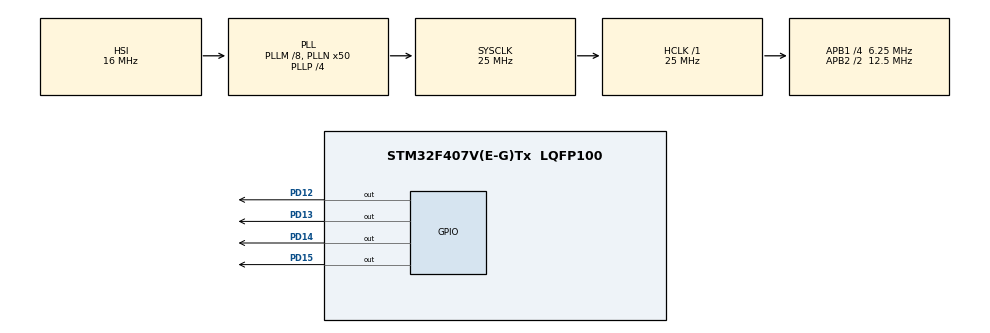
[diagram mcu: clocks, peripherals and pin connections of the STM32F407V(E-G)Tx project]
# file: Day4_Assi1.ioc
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FREERTOS.INCLUDE_vTaskDelayUntil=1
FREERTOS.Tasks01=defaultTask,-3,128,StartDefaultTask,Default,NULL,Dynamic,NULL,NULL
FREERTOS.configUSE_NEWLIB_REENTRANT=1
Mcu.Family=STM32F4
Mcu.Name=STM32F407V(E-G)Tx
Mcu.Package=LQFP100
NVIC.PriorityGroup=NVIC_PRIORITYGROUP_4
NVIC.TIM1_UP_TIM10_IRQn=true\:15\:0\:false\:false\:true\:false\:false\:true\:true
NVIC.TimeBase=TIM1_UP_TIM10_IRQn
NVIC.TimeBaseIP=TIM1
PD12.Signal=GPIO_Output
PD13.Signal=GPIO_Output
PD14.Signal=GPIO_Output
PD15.Signal=GPIO_Output
ProjectManager.HeapSize=0x200
ProjectManager.StackSize=0x400
ProjectManager.TargetToolchain=STM32CubeIDE
RCC.48MHZClocksFreq_Value=14285714.285714285
RCC.AHBFreq_Value=25000000
RCC.APB1CLKDivider=RCC_HCLK_DIV4
RCC.APB1Freq_Value=6250000
RCC.APB1TimFreq_Value=12500000
RCC.APB2CLKDivider=RCC_HCLK_DIV2
RCC.APB2Freq_Value=12500000
RCC.APB2TimFreq_Value=25000000
RCC.CortexFreq_Value=25000000
RCC.HCLKFreq_Value=25000000
RCC.HSE_VALUE=8000000
RCC.HSI_VALUE=16000000
RCC.PLLM=8
RCC.PLLN=50
RCC.PLLP=RCC_PLLP_DIV4
RCC.PLLQ=7
RCC.SYSCLKFreq_VALUE=25000000
RCC.SYSCLKSource=RCC_SYSCLKSOURCE_PLLCLK
RCC.VCOOutputFreq_Value=100000000
VP_FREERTOS_VS_CMSIS_V1.Mode=CMSIS_V1
VP_SYS_VS_tim1.Mode=TIM1
board=STM32F407G-DISC1

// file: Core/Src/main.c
/* USER CODE BEGIN Header */
/**
  ******************************************************************************
  * @file           : main.c
  * @brief          : Main program body
  ******************************************************************************
  * @attention
  *
  * Copyright (c) 2024 STMicroelectronics.
  * All rights reserved.
  *
  * This software is licensed under terms that can be found in the LICENSE file
  * in the root directory of this software component.
  * If no LICENSE file comes with this software, it is provided AS-IS.
  *
  ******************************************************************************
  */
/* USER CODE END Header */
#include "main.h"
#include "cmsis_os.h"

osThreadId defaultTaskHandle;

void SystemClock_Config(void);
static void MX_GPIO_Init(void);
void StartDefaultTask(void const * argument);

/* USER CODE BEGIN 0 */
void vLedTask1(void *pvParam)
{
	uint16_t pin = (uint16_t)pvParam;
	while(1)
	{
		HAL_GPIO_TogglePin(GPIOD, pin);
		vTaskDelay(500 / portTICK_RATE_MS);
	}
	vTaskDelete(NULL);
}

void vLedTask2(void *pvParam)
{
	uint16_t pin = (uint16_t)pvParam;
	portTickType xLastWakeupTime =  xTaskGetTickCount();
	while(1)
	{
		HAL_GPIO_TogglePin(GPIOD, pin);
		vTaskDelayUntil(&xLastWakeupTime ,1000 / portTICK_RATE_MS);
	}
	vTaskDelete(NULL);
}

void vLedTask3(void *pvParam)
{
	uint16_t pin = (uint16_t)pvParam;
	while(1)
	{
		HAL_GPIO_TogglePin(GPIOD, pin);
		vTaskDelay(1500 / portTICK_RATE_MS);
	}
	vTaskDelete(NULL);
}

void vLedTask4(void *pvParam)
{
	uint16_t pin = (uint16_t)pvParam;
	portTickType xLastWakeupTime =  xTaskGetTickCount();
	while(1)
	{
		HAL_GPIO_TogglePin(GPIOD, pin);
		vTaskDelayUntil(&xLastWakeupTime ,2000 / portTICK_RATE_MS);
	}
	vTaskDelete(NULL);
}
/* USER CODE END 0 */

int main(void)
{

  /* USER CODE BEGIN 1 */
	BaseType_t xRet;
  /* USER CODE END 1 */

  /* MCU Configuration--------------------------------------------------------*/

  /* Reset of all peripherals, Initializes the Flash interface and the Systick. */
  HAL_Init();

  /* Configure the system clock */
  SystemClock_Config();

  /* Initialize all configured peripherals */
  MX_GPIO_Init();

  /* Create the thread(s) */
  /* definition and creation of defaultTask */
  osThreadDef(defaultTask, StartDefaultTask, osPriorityIdle, 0, 128);
  defaultTaskHandle = osThreadCreate(osThread(defaultTask), NULL);

  /* USER CODE BEGIN RTOS_THREADS */
  /* add threads, ... */
  xRet = xTaskCreate(vLedTask1, "Task1", configMINIMAL_STACK_SIZE , (void *)GPIO_PIN_12, 1, NULL);
  if(xRet != pdTRUE)
	  Error_Handler();

  xRet = xTaskCreate(vLedTask2, "Task2", configMINIMAL_STACK_SIZE , (void *)GPIO_PIN_13, 6, NULL);
    if(xRet != pdTRUE)
  	  Error_Handler();

    xRet = xTaskCreate(vLedTask3, "Task3", configMINIMAL_STACK_SIZE , (void *)GPIO_PIN_14, 3, NULL);
     if(xRet != pdTRUE)
   	  Error_Handler();

     xRet = xTaskCreate(vLedTask4, "Task4", configMINIMAL_STACK_SIZE , (void *)GPIO_PIN_15, 2, NULL);
       if(xRet != pdTRUE)
     	  Error_Handler();
  /* USER CODE END RTOS_THREADS */

  /* Start scheduler */
  osKernelStart();

  /* We should never get here as control is now taken by the scheduler */

  /* Infinite loop */
  while (1)
  {

  }
}

void SystemClock_Config(void)
{
  RCC_OscInitTypeDef RCC_OscInitStruct = {0};
  RCC_ClkInitTypeDef RCC_ClkInitStruct = {0};

  /** Configure the main internal regulator output voltage
  */
  __HAL_RCC_PWR_CLK_ENABLE();
  __HAL_PWR_VOLTAGESCALING_CONFIG(PWR_REGULATOR_VOLTAGE_SCALE1);

  /** Initializes the RCC Oscillators according to the specified parameters
  * in the RCC_OscInitTypeDef structure.
  */
  RCC_OscInitStruct.OscillatorType = RCC_OSCILLATORTYPE_HSI;
  RCC_OscInitStruct.HSIState = RCC_HSI_ON;
  RCC_OscInitStruct.HSICalibrationValue = RCC_HSICALIBRATION_DEFAULT;
  RCC_OscInitStruct.PLL.PLLState = RCC_PLL_ON;
  RCC_OscInitStruct.PLL.PLLSource = RCC_PLLSOURCE_HSI;
  RCC_OscInitStruct.PLL.PLLM = 8;
  RCC_OscInitStruct.PLL.PLLN = 50;
  RCC_OscInitStruct.PLL.PLLP = RCC_PLLP_DIV4;
  RCC_OscInitStruct.PLL.PLLQ = 7;
  if (HAL_RCC_OscConfig(&RCC_OscInitStruct) != HAL_OK)
  {
    Error_Handler();
  }

  /** Initializes the CPU, AHB and APB buses clocks
  */
  RCC_ClkInitStruct.ClockType = RCC_CLOCKTYPE_HCLK|RCC_CLOCKTYPE_SYSCLK
                              |RCC_CLOCKTYPE_PCLK1|RCC_CLOCKTYPE_PCLK2;
  RCC_ClkInitStruct.SYSCLKSource = RCC_SYSCLKSOURCE_PLLCLK;
  RCC_ClkInitStruct.AHBCLKDivider = RCC_SYSCLK_DIV1;
  RCC_ClkInitStruct.APB1CLKDivider = RCC_HCLK_DIV4;
  RCC_ClkInitStruct.APB2CLKDivider = RCC_HCLK_DIV2;

  if (HAL_RCC_ClockConfig(&RCC_ClkInitStruct, FLASH_LATENCY_0) != HAL_OK)
  {
    Error_Handler();
  }
}

static void MX_GPIO_Init(void)
{
  GPIO_InitTypeDef GPIO_InitStruct = {0};

  /* GPIO Ports Clock Enable */
  __HAL_RCC_GPIOD_CLK_ENABLE();

  /*Configure GPIO pin Output Level */
  HAL_GPIO_WritePin(GPIOD, GPIO_PIN_12|GPIO_PIN_13|GPIO_PIN_14|GPIO_PIN_15, GPIO_PIN_RESET);

  /*Configure GPIO pins : PD12 PD13 PD14 PD15 */
  GPIO_InitStruct.Pin = GPIO_PIN_12|GPIO_PIN_13|GPIO_PIN_14|GPIO_PIN_15;
  GPIO_InitStruct.Mode = GPIO_MODE_OUTPUT_PP;
  GPIO_InitStruct.Pull = GPIO_NOPULL;
  GPIO_InitStruct.Speed = GPIO_SPEED_FREQ_LOW;
  HAL_GPIO_Init(GPIOD, &GPIO_InitStruct);

}

void StartDefaultTask(void const * argument)
{
  for(;;)
  {
    osDelay(1);
  }
}

void HAL_TIM_PeriodElapsedCallback(TIM_HandleTypeDef *htim)
{
  if (htim->Instance == TIM1) {
    HAL_IncTick();
  }
}

void Error_Handler(void)
{
  __disable_irq();
  while (1)
  {
  }
}
